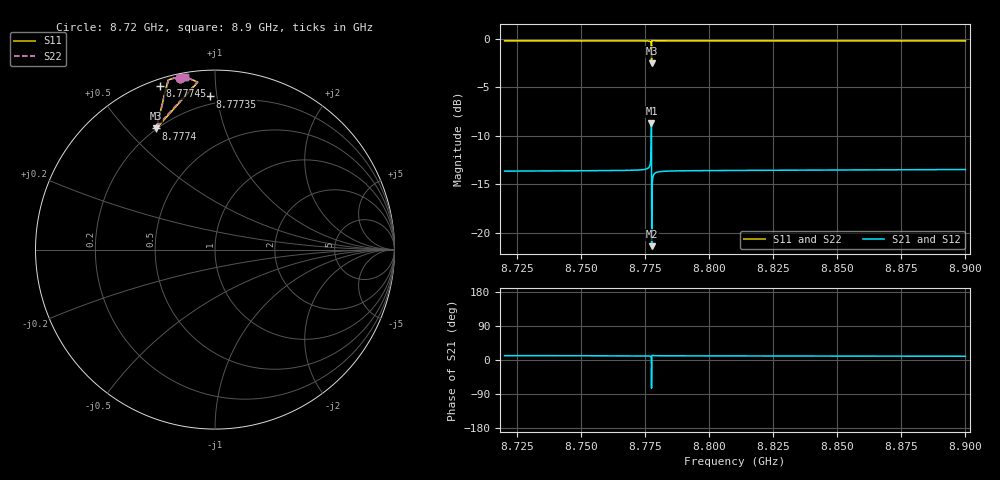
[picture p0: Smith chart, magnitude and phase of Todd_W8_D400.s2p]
! Sonnet Data File
! From: emgraph Version : 16.52
! From Emgraph Data: transmon_brgOdd
! Data File Written: 11/11/2017 22:54:51
!< HDATE 11/11/2017 22:31:46
!< MDATE 11/11/2017 22:32:14
!< PARAMS
!< Lj = 15.24
!< Gap = 6.0
!< Width = 10.0
!< Pwidth = 2000.0
!< Dist = 400.0
!< END PARAMS
# GHZ S MA R 34.67000
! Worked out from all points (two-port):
!   3601 points, 8.72 GHz to 8.9 GHz, reference 34.67 ohm
!   highest |S21| = -8.71 dB at 8.77735 GHz (marker M1); lowest = -21.4 dB at 8.77745 GHz (marker M2)
!   |S21| within 3 dB of the highest: 8.777226 GHz to 8.777394 GHz (167.9 kHz wide, 0.00191 % of centre)
!   lowest |S11| = -2.5 dB at 8.7774 GHz (marker M3), VSWR 7.01, Z = 6.84 + j21.1 ohm
!   |S11| at or under -10 dB: nowhere
!   |S22| runs from -2.4 to -0.2 dB; largest |S21 - S12| = 0
!   S11 on the Smith chart (normalised r, x): 8.72 GHz: 0.02, +0.82; 8.77735 GHz: 0.15, +0.96; 8.7774 GHz: 0.20, +0.61; 8.77745 GHz: 0.03, +0.72; 8.9 GHz: 0.02, +0.84
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8.72  0.9781 101.5  0.2081 11.5  0.2081 11.5  0.9781 101.5
!< P1 F=8.72 Eeff=(5.13609477 -5.6761e-5) Z0=(34.6490765 -9.5162e-5) R=0.0 C=0.0
!< P2 F=8.72 Eeff=(5.13609477 -5.6761e-5) Z0=(34.6490765 -9.5162e-5) R=0.0 C=0.0
8.75  0.9779 101.3  0.2089 11.2  0.2089 11.2  0.9779 101.2
8.77375  0.9774 100.9  0.2115 10.9  0.2115 10.9  0.9774 100.9
8.7759  0.9766 100.7  0.2149 10.7  0.2149 10.7  0.9766 100.7
8.7764  0.9759 100.5  0.2177 10.5  0.2177 10.5  0.9759 100.5
8.77645  0.9757 100.5  0.2181 10.5  0.2181 10.5  0.9758 100.5
8.7765  0.9756 100.5  0.2186 10.4  0.2186 10.4  0.9756 100.5
8.77655  0.9755 100.4  0.2192 10.4  0.2192 10.4  0.9755 100.5
8.7767  0.9749 100.3  0.2213 10.2  0.2213 10.2  0.9749 100.3
8.77735  0.8538 91.9  0.367 -10.2  0.367 -10.2  0.8565 92.3
8.7774  0.7502 115.8  0.2485 -74.4  0.2485 -74.4  0.7584 115.3
8.77745  0.9637 108.7  0.08531 -3.9  0.08531 -3.9  0.9648 108.5
8.7782  0.9798 101.6  0.1989 11.6  0.1989 11.6  0.9798 101.6
8.7783  0.9796 101.6  0.2001 11.5  0.2001 11.5  0.9796 101.5
8.77835  0.9795 101.5  0.2006 11.5  0.2006 11.5  0.9795 101.5
8.77845  0.9794 101.5  0.2014 11.4  0.2014 11.4  0.9794 101.5
8.7787  0.9791 101.4  0.2029 11.4  0.2029 11.4  0.9791 101.4
8.78  0.9785 101.2  0.2061 11.2  0.2061 11.2  0.9785 101.2
8.81  0.9777 100.8  0.2098 10.7  0.2098 10.7  0.9777 100.7
8.84  0.9776 100.5  0.2106 10.5  0.2106 10.5  0.9776 100.5
8.87  0.9774 100.2  0.2113 10.2  0.2113 10.2  0.9774 100.2
8.9  0.9773 99.9  0.2121 9.9  0.2121 9.9  0.9773 99.9
